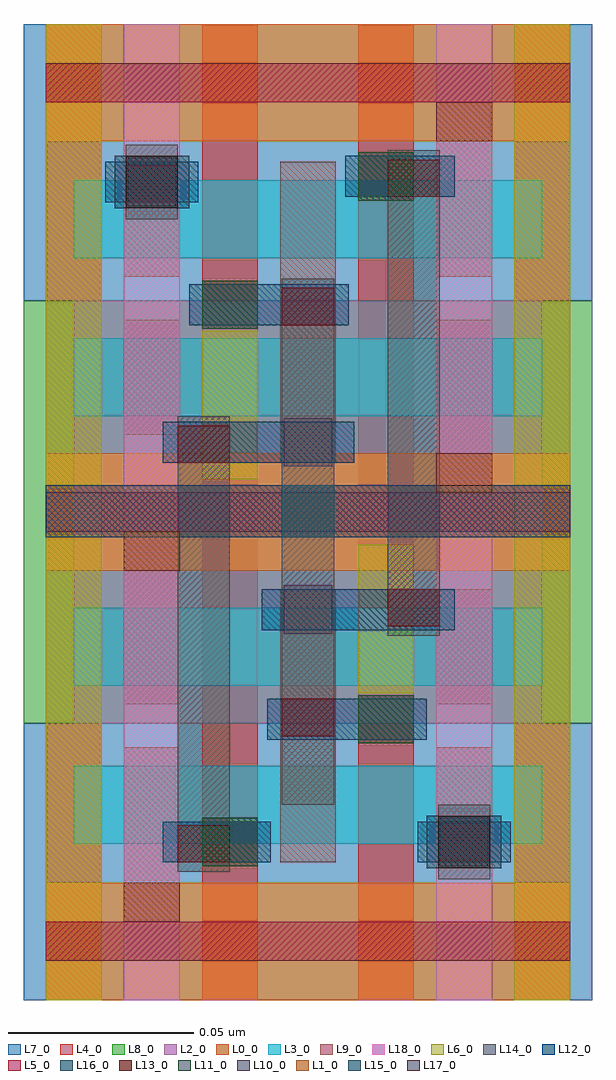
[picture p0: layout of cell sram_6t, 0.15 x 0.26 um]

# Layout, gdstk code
from math import pi, radians
import gdstk
lib = gdstk.Library(unit=1e-6, precision=5e-10)
def R(c, l, rs):  # rectangles x0, y0, x1, y1
    for r in rs: c.add(gdstk.rectangle(r[:2], r[2:], *l))
def A(c, l, x, y, w, h, nx, ny, dx, dy):  # array of equal rectangles
    R(c, l, [(x+i*dx, y+j*dy, x+i*dx+w, y+j*dy+h) for i in range(nx) for j in range(ny)])
L0_0 = (0, 0)
L1_0 = (1, 0)
L2_0 = (2, 0)
L3_0 = (3, 0)
L4_0 = (4, 0)
L5_0 = (5, 0)
L6_0 = (6, 0)
L7_0 = (7, 0)
L8_0 = (8, 0)
L9_0 = (9, 0)
L10_0 = (10, 0)
L11_0 = (11, 0)
L12_0 = (12, 0)
L13_0 = (13, 0)
L14_0 = (14, 0)
L15_0 = (15, 0)
L16_0 = (16, 0)
L17_0 = (17, 0)
L18_0 = (18, 0)

nmos = lib.new_cell('nmos')
R(nmos, L3_0, [(-0.042,-0.0105,0.042,0.0105)])
A(nmos, L4_0, -0.0495, -0.032, 0.015, 0.064, 3, 1, 0.042, 0)
R(nmos, L7_0, [(-0.0555,-0.021,0.0555,0.0205)])
R(nmos, L9_0, [(-0.0285,-0.0155,-0.0135,0.0155), (0.0135,-0.0155,0.0285,0.0155)])

pmos = lib.new_cell('pmos')
R(pmos, L2_0, [(-0.042,-0.0205,0.042,0.0205)])
R(pmos, L3_0, [(-0.042,-0.0105,0.042,0.0105)])
A(pmos, L4_0, -0.0495, -0.032, 0.015, 0.064, 3, 1, 0.042, 0)
R(pmos, L8_0, [(-0.0555,-0.0205,0.0555,0.0205)])
R(pmos, L9_0, [(-0.0285,-0.0155,-0.0135,0.0155), (0.0135,-0.0155,0.0285,0.0155)])

gate_m0b = lib.new_cell('GATE_M0B')
R(gate_m0b, L4_0, [(-0.0075,-0.0115,0.0075,0.0115)])
R(gate_m0b, L11_0, [(-0.0075,-0.0065,0.0075,0.0065)])
R(gate_m0b, L12_0, [(-0.011,-0.0055,0.011,0.0055)])

m0b_m1 = lib.new_cell('M0B_M1')
R(m0b_m1, L12_0, [(-0.011,-0.005,0.011,0.005)])
R(m0b_m1, L13_0, [(-0.007,-0.005,0.007,0.005)])
R(m0b_m1, L14_0, [(-0.007,-0.0075,0.007,0.0075)])

m1_m2 = lib.new_cell('M1_M2')
R(m1_m2, L14_0, [(-0.007,-0.01,0.007,0.01)])
R(m1_m2, L15_0, [(-0.007,-0.007,0.007,0.007)])
R(m1_m2, L16_0, [(-0.01,-0.007,0.01,0.007)])

m0a_m0b = lib.new_cell('M0A_M0B')
R(m0a_m0b, L9_0, [(-0.0075,-0.0055,0.0075,0.0055)])
R(m0a_m0b, L10_0, [(-0.0065,-0.0065,0.0065,0.0065)])
R(m0a_m0b, L12_0, [(-0.0125,-0.0055,0.0125,0.0055)])

m2_m3 = lib.new_cell('M2_M3')
R(m2_m3, L16_0, [(-0.01,-0.007,0.01,0.007)])
R(m2_m3, L17_0, [(-0.007,-0.007,0.007,0.007)])
R(m2_m3, L18_0, [(-0.0075,-0.01,0.0075,0.01)])

bpr_m0a = lib.new_cell('BPR_M0A')
R(bpr_m0a, L0_0, [(-0.021,-0.0055,0.021,0.026)])
R(bpr_m0a, L1_0, [(-0.0075,-0.0055,0.0075,0.005)])
R(bpr_m0a, L9_0, [(-0.0075,-0.0165,0.0075,0.005)])

sram_6t = lib.new_cell('sram_6t')
A(sram_6t, L0_0, 0, 0, 0.141, 0.0315, 1, 3, 0, 0.1155)
R(sram_6t, L0_0, [(0.0205,0.0015,0.0375,0.0185), (0.1205,0.1155,0.141,0.1465), (0.107,0.1175,0.122,0.132), (0.054,0.126,0.0715,0.138), (0.1205,0.231,0.1405,0.262), (0.104,0.245,0.1195,0.258)])
R(sram_6t, L2_0, [(0.0075,0.0745,0.1335,0.188)])
A(sram_6t, L4_0, 0, 0, 0.015, 0.2625, 4, 1, 0.042, 0)
A(sram_6t, L5_0, 0, 0.0105, 0.141, 0.0105, 1, 3, 0, 0.1155)
R(sram_6t, L6_0, [(0,0,0.015,0.2625), (0.126,0,0.141,0.2625), (0.084,0.0825,0.099,0.1225), (0.042,0.14,0.057,0.18)])
R(sram_6t, L7_0, [(-0.006,0,0.147,0.0745), (-0.006,0.188,0.147,0.2625)])
R(sram_6t, L8_0, [(-0.006,0.0745,0.147,0.188)])
R(sram_6t, L9_0, [(0.063,0.037,0.078,0.1105), (0.063,0.152,0.078,0.2255)])
R(sram_6t, L12_0, [(0.0315,0.037,0.0605,0.048), (0.0595,0.07,0.1025,0.081), (0.058,0.0995,0.108,0.1105), (0.058,0.0995,0.11,0.1105), (0.0315,0.1445,0.083,0.1555), (0.0385,0.1815,0.0815,0.1925), (0.0805,0.216,0.11,0.227)])
R(sram_6t, L14_0, [(0.0355,0.0345,0.0495,0.151), (0.0635,0.0525,0.0775,0.194), (0.092,0.098,0.106,0.2265)])
R(sram_6t, L16_0, [(0,0.1245,0.141,0.1385)])
R(sram_6t, L18_0, [(0.021,0,0.036,0.2625), (0.021,0,0.036,0.0315), (0.105,0,0.12,0.2625), (0.105,0,0.12,0.0315)])
sram_6t.add(gdstk.Reference(nmos, (0.0915,0.0525)))
sram_6t.add(gdstk.Reference(nmos, (0.0915,0.21)))
sram_6t.add(gdstk.Reference(nmos, (0.0495,0.21)))
sram_6t.add(gdstk.Reference(nmos, (0.0495,0.0525)))
sram_6t.add(gdstk.Reference(pmos, (0.0915,0.095)))
sram_6t.add(gdstk.Reference(pmos, (0.0495,0.095)))
sram_6t.add(gdstk.Reference(pmos, (0.0495,0.1675)))
sram_6t.add(gdstk.Reference(pmos, (0.0915,0.1675)))
sram_6t.add(gdstk.Reference(gate_m0b, (0.0495,0.0425)))
sram_6t.add(gdstk.Reference(gate_m0b, (0.0915,0.2215)))
sram_6t.add(gdstk.Reference(gate_m0b, (0.0915,0.0755), rotation=pi, x_reflection=True))
sram_6t.add(gdstk.Reference(gate_m0b, (0.0495,0.187)))
sram_6t.add(gdstk.Reference(m0b_m1, (0.0285,0.2195)))
sram_6t.add(gdstk.Reference(m0b_m1, (0.1125,0.0425)))
sram_6t.add(gdstk.Reference(m0b_m1, (0.0425,0.042)))
sram_6t.add(gdstk.Reference(m0b_m1, (0.0425,0.1495)))
sram_6t.add(gdstk.Reference(m0b_m1, (0.099,0.221)))
sram_6t.add(gdstk.Reference(m0b_m1, (0.099,0.1055)))
sram_6t.add(gdstk.Reference(m0b_m1, (0.0705,0.076), rotation=pi, x_reflection=True))
sram_6t.add(gdstk.Reference(m0b_m1, (0.0705,0.1865)))
sram_6t.add(gdstk.Reference(m1_m2, (0.0285,0.22)))
sram_6t.add(gdstk.Reference(m1_m2, (0.1125,0.0425)))
sram_6t.add(gdstk.Reference(m1_m2, (0.0705,0.1315)))
sram_6t.add(gdstk.Reference(m0a_m0b, (0.0285,0.22)))
sram_6t.add(gdstk.Reference(m0a_m0b, (0.0705,0.15)))
sram_6t.add(gdstk.Reference(m0a_m0b, (0.1125,0.0425)))
sram_6t.add(gdstk.Reference(m0a_m0b, (0.0705,0.105)))
sram_6t.add(gdstk.Reference(m2_m3, (0.0285,0.22)))
sram_6t.add(gdstk.Reference(m2_m3, (0.1125,0.0425)))
sram_6t.add(gdstk.Reference(bpr_m0a, (0.0285,0.026), rotation=pi))
sram_6t.add(gdstk.Reference(bpr_m0a, (0.0285,0.121)))
sram_6t.add(gdstk.Reference(bpr_m0a, (0.1125,0.1415), rotation=pi))
sram_6t.add(gdstk.Reference(bpr_m0a, (0.1125,0.2365)))

lib.write_gds('sram_6t.gds')
